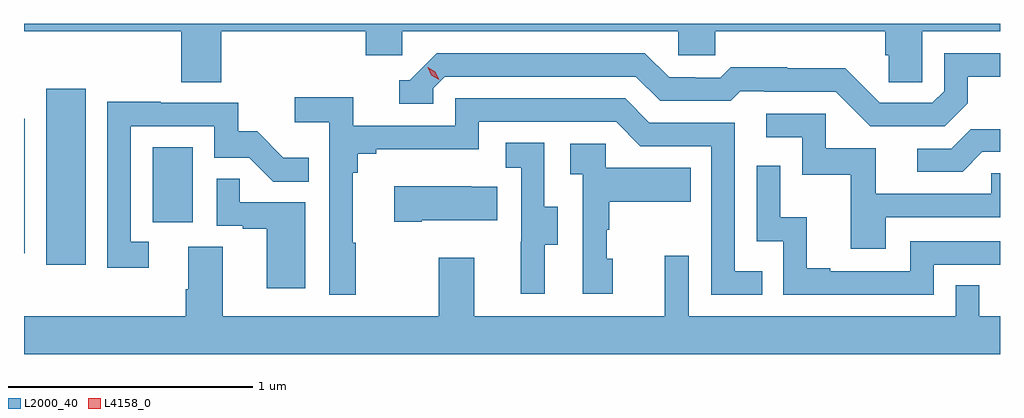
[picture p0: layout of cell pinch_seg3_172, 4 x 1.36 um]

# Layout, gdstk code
import gdstk
lib = gdstk.Library(unit=1e-6, precision=1e-09)
def R(c, l, rs):  # rectangles x0, y0, x1, y1
    for r in rs: c.add(gdstk.rectangle(r[:2], r[2:], *l))
def P(c, l, *ps):  # polygons
    for p in ps: c.add(gdstk.Polygon(p, *l))
L2000_40 = (2000, 40)
L4158_0 = (4158, 0)

pinch_seg3_172 = lib.new_cell('pinch_seg3_172')
R(pinch_seg3_172, L2000_40, [(1001.159,747.912,1001.32,748.633), (1001.067,747.958,1001.07,748.51), (1001.594,748.086,1001.758,748.393)])
P(pinch_seg3_172, L2000_40, [(1001.876,748.868),(1002.467,748.868),(1002.467,748.77),(1002.618,748.77),(1002.618,748.868),(1003.749,748.868),(1003.749,748.77),(1003.899,748.77),(1003.899,748.868),(1004.597,748.868),(1004.597,748.77),(1004.611,748.77),(1004.611,748.66),(1004.748,748.66),(1004.748,748.868),(1005.067,748.868),(1005.067,748.9),(1001.067,748.9),(1001.067,748.868),(1001.711,748.868),(1001.711,748.66),(1001.876,748.66)],
  [(1004.935,748.573),(1004.935,748.683),(1005.067,748.683),(1005.067,748.779),(1004.838,748.779),(1004.838,748.623),(1004.79,748.575),(1004.574,748.575),(1004.432,748.717),(1004.196,748.717),(1004.196,748.72),(1003.963,748.72),(1003.921,748.677),(1003.818,748.677),(1003.818,748.68),(1003.711,748.68),(1003.612,748.779),(1002.759,748.779),(1002.648,748.668),(1002.605,748.668),(1002.605,748.572),(1002.744,748.572),(1002.744,748.635),(1002.792,748.683),(1003.575,748.683),(1003.674,748.584),(1003.963,748.584),(1004.002,748.623),(1004.101,748.623),(1004.101,748.62),(1004.394,748.62),(1004.535,748.479),(1004.841,748.479)],
  [(1002.427,748.001),(1002.415,748.001),(1002.415,748.289),(1002.434,748.289),(1002.434,748.366),(1002.511,748.366),(1002.511,748.385),(1002.93,748.385),(1002.93,748.497),(1003.494,748.497),(1003.593,748.398),(1003.884,748.398),(1003.884,747.789),(1004.093,747.789),(1004.093,747.885),(1003.98,747.885),(1003.98,748.494),(1003.63,748.494),(1003.531,748.593),(1002.834,748.593),(1002.834,748.482),(1002.416,748.482),(1002.416,748.598),(1002.177,748.598),(1002.177,748.496),(1002.318,748.496),(1002.318,747.789),(1002.427,747.789)],
  [(1001.578,748.005),(1001.505,748.005),(1001.505,748.479),(1001.847,748.479),(1001.847,748.35),(1001.991,748.35),(1002.089,748.252),(1002.233,748.252),(1002.233,748.351),(1002.129,748.351),(1002.022,748.458),(1001.946,748.458),(1001.946,748.575),(1001.627,748.575),(1001.627,748.58),(1001.409,748.58),(1001.409,747.9),(1001.578,747.9)],
  [(1004.599,748.107),(1005.067,748.107),(1005.067,748.287),(1005.031,748.287),(1005.031,748.203),(1004.557,748.203),(1004.557,748.389),(1004.352,748.389),(1004.352,748.53),(1004.109,748.53),(1004.109,748.434),(1004.256,748.434),(1004.256,748.281),(1004.455,748.281),(1004.455,747.978),(1004.599,747.978)],
  [(1004.995,748.374),(1005.067,748.374),(1005.067,748.466),(1004.948,748.466),(1004.868,748.386),(1004.727,748.386),(1004.727,748.293),(1004.914,748.293)],
  [(1003.201,747.994),(1003.255,747.994),(1003.255,748.149),(1003.2,748.149),(1003.2,748.412),(1003.041,748.412),(1003.041,748.309),(1003.104,748.309),(1003.104,748.005),(1003.103,748.005),(1003.103,747.792),(1003.201,747.792)],
  [(1003.48,747.936),(1003.455,747.936),(1003.455,748.055),(1003.465,748.055),(1003.465,748.169),(1003.799,748.169),(1003.799,748.309),(1003.452,748.309),(1003.452,748.407),(1003.305,748.407),(1003.305,748.283),(1003.356,748.283),(1003.356,747.792),(1003.48,747.792)],
  [(1004.796,747.912),(1005.067,747.912),(1005.067,748.008),(1004.7,748.008),(1004.7,747.885),(1004.371,747.885),(1004.371,747.898),(1004.276,747.898),(1004.276,748.106),(1004.166,748.106),(1004.166,748.318),(1004.07,748.318),(1004.07,748.008),(1004.178,748.008),(1004.178,747.789),(1004.796,747.789)],
  [(1002.22,748.167),(1001.951,748.167),(1001.951,748.265),(1001.856,748.265),(1001.856,748.071),(1001.963,748.071),(1001.963,748.059),(1002.062,748.059),(1002.062,747.816),(1002.22,747.816)],
  [(1002.697,748.094),(1003.007,748.094),(1003.007,748.231),(1002.899,748.231),(1002.899,748.234),(1002.585,748.234),(1002.585,748.087),(1002.697,748.087)],
  [(1005.067,747.7),(1004.982,747.7),(1004.982,747.827),(1004.886,747.827),(1004.886,747.7),(1003.791,747.7),(1003.791,747.949),(1003.694,747.949),(1003.694,747.7),(1002.913,747.7),(1002.913,747.94),(1002.766,747.94),(1002.766,747.7),(1001.881,747.7),(1001.881,747.986),(1001.741,747.986),(1001.741,747.812),(1001.729,747.812),(1001.729,747.7),(1001.067,747.7),(1001.067,747.544),(1005.067,747.544)])
P(pinch_seg3_172, L4158_0, [(1002.768,748.669),(1002.737,748.689),(1002.722,748.722),(1002.722,748.722),(1002.722,748.722),(1002.752,748.702),(1002.768,748.669),(1002.768,748.669)])

lib.write_gds('pinch_seg3_172.gds')
